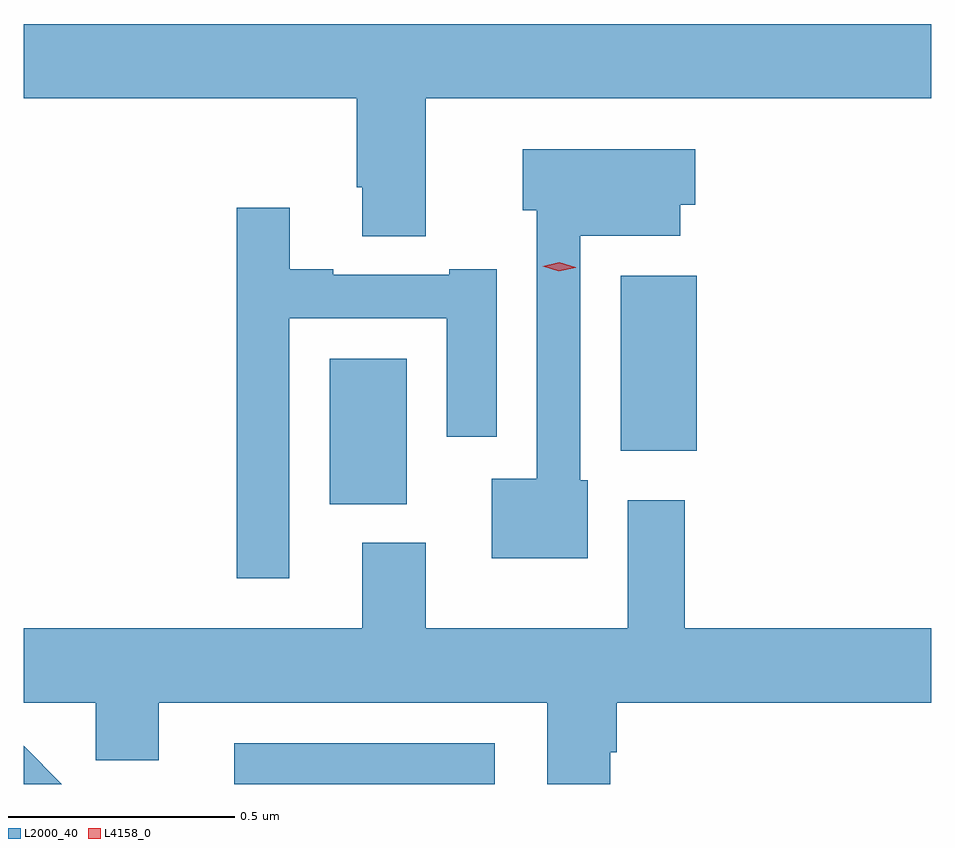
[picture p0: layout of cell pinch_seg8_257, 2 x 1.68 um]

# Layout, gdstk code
import gdstk
lib = gdstk.Library(unit=1e-6, precision=1e-09)
def R(c, l, rs):  # rectangles x0, y0, x1, y1
    for r in rs: c.add(gdstk.rectangle(r[:2], r[2:], *l))
def P(c, l, *ps):  # polygons
    for p in ps: c.add(gdstk.Polygon(p, *l))
L2000_40 = (2000, 40)
L4158_0 = (4158, 0)

pinch_seg8_257 = lib.new_cell('pinch_seg8_257')
R(pinch_seg8_257, L2000_40, [(758.777,1085.685,759.351,1085.775), (758.987,1086.302,759.157,1086.622), (759.629,1086.419,759.796,1086.805)])
P(pinch_seg8_257, L2000_40, [(759.199,1087.196),(760.313,1087.196),(760.313,1087.36),(758.313,1087.36),(758.313,1087.196),(759.047,1087.196),(759.047,1087),(759.059,1087),(759.059,1086.892),(759.199,1086.892)],
  [(759.556,1086.354),(759.54,1086.354),(759.54,1086.893),(759.76,1086.893),(759.76,1086.962),(759.793,1086.962),(759.793,1087.084),(759.413,1087.084),(759.413,1086.95),(759.444,1086.95),(759.444,1086.358),(759.344,1086.358),(759.344,1086.182),(759.556,1086.182)],
  [(758.898,1086.711),(759.245,1086.711),(759.245,1086.45),(759.355,1086.45),(759.355,1086.82),(759.251,1086.82),(759.251,1086.807),(758.995,1086.807),(758.995,1086.82),(758.899,1086.82),(758.899,1086.955),(758.782,1086.955),(758.782,1086.138),(758.898,1086.138)],
  [(759.606,1085.755),(759.62,1085.755),(759.62,1085.864),(760.313,1085.864),(760.313,1086.028),(759.77,1086.028),(759.77,1086.31),(759.644,1086.31),(759.644,1086.028),(759.199,1086.028),(759.199,1086.217),(759.059,1086.217),(759.059,1086.028),(758.313,1086.028),(758.313,1085.864),(758.472,1085.864),(758.472,1085.737),(758.611,1085.737),(758.611,1085.864),(759.467,1085.864),(759.467,1085.685),(759.606,1085.685)],
  [(758.313,1085.769),(758.313,1085.685),(758.397,1085.685)])
P(pinch_seg8_257, L4158_0, [(759.492,1086.815),(759.457,1086.826),(759.457,1086.826),(759.457,1086.826),(759.493,1086.835),(759.529,1086.824),(759.529,1086.823),(759.529,1086.823)])

lib.write_gds('pinch_seg8_257.gds')
